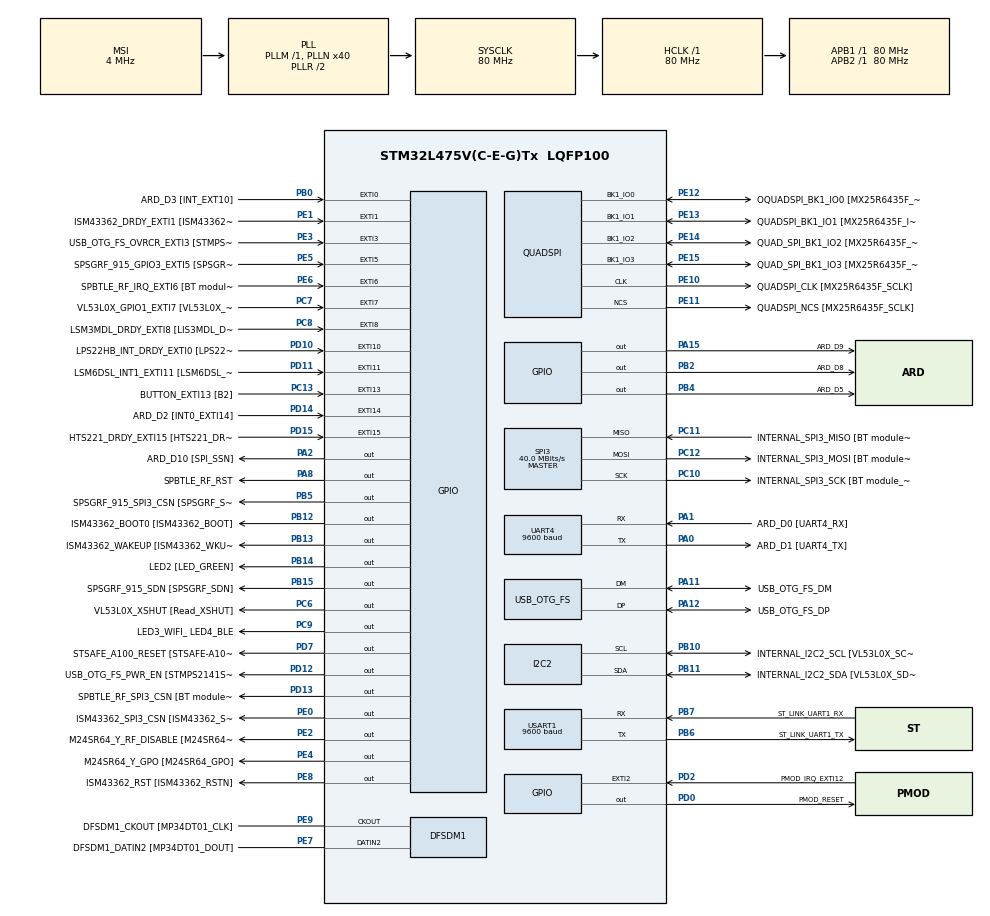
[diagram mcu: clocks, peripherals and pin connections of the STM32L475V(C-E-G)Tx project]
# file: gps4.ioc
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Dma.Request0=UART4_RX
Dma.UART4_RX.0.Direction=DMA_PERIPH_TO_MEMORY
Dma.UART4_RX.0.Instance=DMA2_Channel5
Dma.UART4_RX.0.MemDataAlignment=DMA_MDATAALIGN_BYTE
Dma.UART4_RX.0.MemInc=DMA_MINC_ENABLE
Dma.UART4_RX.0.Mode=DMA_CIRCULAR
Dma.UART4_RX.0.PeriphDataAlignment=DMA_PDATAALIGN_BYTE
Dma.UART4_RX.0.PeriphInc=DMA_PINC_DISABLE
Dma.UART4_RX.0.Priority=DMA_PRIORITY_LOW
Mcu.Family=STM32L4
Mcu.Name=STM32L475V(C-E-G)Tx
Mcu.Package=LQFP100
NVIC.DMA2_Channel5_IRQn=true\:0\:0\:false\:false\:true\:false\:true\:true
NVIC.EXTI15_10_IRQn=true\:0\:0\:false\:false\:true\:true\:true\:true
NVIC.EXTI9_5_IRQn=true\:0\:0\:false\:false\:true\:true\:true\:true
NVIC.PriorityGroup=NVIC_PRIORITYGROUP_4
PA0.GPIO_Label=ARD_D1 [UART4_TX]
PA0.Mode=Asynchronous
PA0.Signal=UART4_TX
PA1.GPIO_Label=ARD_D0 [UART4_RX]
PA1.Mode=Asynchronous
PA1.Signal=UART4_RX
PA10.GPIO_Label=USB_OTG_FS_ID
PA10.Signal=USB_OTG_FS_ID
PA11.GPIO_Label=USB_OTG_FS_DM
PA11.Mode=Device_Only
PA11.Signal=USB_OTG_FS_DM
PA12.GPIO_Label=USB_OTG_FS_DP
PA12.Mode=Device_Only
PA12.Signal=USB_OTG_FS_DP
PA13\ (JTMS-SWDIO).GPIO_Label=SYS_JTMS_SWDIO
PA13\ (JTMS-SWDIO).Mode=Serial_Wire
PA13\ (JTMS-SWDIO).Signal=SYS_JTMS-SWDIO
PA14\ (JTCK-SWCLK).GPIO_Label=SYS_JTCK_SWCLK
PA14\ (JTCK-SWCLK).Mode=Serial_Wire
PA14\ (JTCK-SWCLK).Signal=SYS_JTCK-SWCLK
PA15\ (JTDI).GPIO_Label=ARD_D9
PA15\ (JTDI).Signal=GPIO_Output
PA2.GPIO_Label=ARD_D10 [SPI_SSN]
PA2.Signal=GPIO_Output
PA3.GPIO_Label=ARD_D4
PA3.Signal=S_TIM2_CH4
PA4.GPIO_Label=ARD_D7
PA4.Signal=ADCx_IN9
PA5.GPIO_Label=ARD_D13 [SPI1_SCK]
PA5.Signal=SPI1_SCK
PA6.GPIO_Label=ARD_D12 [SPI1_MISO]
PA6.Signal=SPI1_MISO
PA7.GPIO_Label=ARD_D11 [SPI1_MOSI]
PA7.Signal=SPI1_MOSI
PA8.GPIO_Label=SPBTLE_RF_RST
PA8.Signal=GPIO_Output
PA9.GPIO_Label=USB_OTG_FS_VBUS [STMPS2141STR_OUT]
PA9.Signal=USB_OTG_FS_VBUS
PB0.GPIO_Label=ARD_D3 [INT_EXT10]
PB0.Signal=GPXTI0
PB1.GPIO_Label=ARD_D6 [ADC1_IN6]
PB1.Signal=ADCx_IN16
PB10.GPIO_Label=INTERNAL_I2C2_SCL [VL53L0X_SCL]
PB10.GPIO_Pu=GPIO_PULLUP
PB10.Mode=I2C
PB10.Signal=I2C2_SCL
PB11.GPIO_Label=INTERNAL_I2C2_SDA [VL53L0X_SDA]
PB11.GPIO_Pu=GPIO_PULLUP
PB11.Mode=I2C
PB11.Signal=I2C2_SDA
PB12.GPIO_Label=ISM43362_BOOT0 [ISM43362_BOOT]
PB12.Signal=GPIO_Output
PB13.GPIO_Label=ISM43362_WAKEUP [ISM43362_WKUP]
PB13.Signal=GPIO_Output
PB14.GPIO_Label=LED2 [LED_GREEN]
PB14.Signal=GPIO_Output
PB15.GPIO_Label=SPSGRF_915_SDN [SPSGRF_SDN]
PB15.Signal=GPIO_Output
PB2.GPIO_Label=ARD_D8
PB2.Signal=GPIO_Output
PB3\ (JTDO-TRACESWO).GPIO_Label=SYS_JTD0_SWO
PB3\ (JTDO-TRACESWO).Signal=SYS_JTDO-SWO
PB4\ (NJTRST).GPIO_Label=ARD_D5
PB4\ (NJTRST).Signal=GPIO_Output
PB5.GPIO_Label=SPSGRF_915_SPI3_CSN [SPSGRF_SPI_CS]
PB5.PinState=GPIO_PIN_SET
PB5.Signal=GPIO_Output
PB6.GPIO_Label=ST_LINK_UART1_TX
PB6.Mode=Asynchronous
PB6.Signal=USART1_TX
PB7.GPIO_Label=ST_LINK_UART1_RX
PB7.Mode=Asynchronous
PB7.Signal=USART1_RX
PB8.GPIO_Label=ARD_D15 [I2C1_SCL]
PB8.Signal=I2C1_SCL
PB9.GPIO_Label=ARD_D14 [I2C1_SDA]
PB9.Signal=I2C1_SDA
PC0.GPIO_Label=ARD_A5 [ADC]
PC0.Signal=ADCx_IN1
PC1.GPIO_Label=ARD_A4 [ADC]
PC1.Signal=ADCx_IN2
PC10.GPIO_Label=INTERNAL_SPI3_SCK [BT module_SPI_SCLK] [ISM43362_SCK]
PC10.Mode=Full_Duplex_Master
PC10.Signal=SPI3_SCK
PC11.GPIO_Label=INTERNAL_SPI3_MISO [BT module_SPI_MISO] [ISM43362_MISO]
PC11.Mode=Full_Duplex_Master
PC11.Signal=SPI3_MISO
PC12.GPIO_Label=INTERNAL_SPI3_MOSI [BT module_SPI_MOSI] [ISM43362_MOSI]
PC12.Mode=Full_Duplex_Master
PC12.Signal=SPI3_MOSI
PC13.GPIO_Label=BUTTON_EXTI13 [B2]
PC13.GPIO_ModeDefaultEXTI=GPIO_MODE_IT_FALLING
PC13.Signal=GPXTI13
PC14-OSC32_IN\ (PC14).Mode=LSE-External-Oscillator
PC14-OSC32_IN\ (PC14).Signal=RCC_OSC32_IN
PC15-OSC32_OUT\ (PC15).Mode=LSE-External-Oscillator
PC15-OSC32_OUT\ (PC15).Signal=RCC_OSC32_OUT
PC2.GPIO_Label=ARD_A3 [ADC]
PC2.Signal=ADCx_IN3
PC3.GPIO_Label=ARD_A2 [ADC]
PC3.Signal=ADCx_IN4
PC4.GPIO_Label=ARD_A1 [ADC]
PC4.Signal=ADCx_IN13
PC5.GPIO_Label=ARD_A0 [ADC]
PC5.Signal=ADCx_IN14
PC6.GPIO_Label=VL53L0X_XSHUT [Read_XSHUT]
PC6.Signal=GPIO_Output
PC7.GPIO_Label=VL53L0X_GPIO1_EXTI7 [VL53L0X_GPIO1]
PC7.Signal=GPXTI7
PC8.GPIO_Label=LSM3MDL_DRDY_EXTI8 [LIS3MDL_DRDY]
PC8.Signal=GPXTI8
PC9.GPIO_Label=LED3_WIFI_ LED4_BLE
PC9.Signal=GPIO_Output
PD0.GPIO_Label=PMOD_RESET
PD0.Signal=GPIO_Output
PD1.GPIO_Label=PMOD_SPI2_SCK
PD1.Signal=SPI2_SCK
PD10.GPIO_Label=LPS22HB_INT_DRDY_EXTI0 [LPS22HB_INT_DRDY] 
PD10.Signal=GPXTI10
PD11.GPIO_Label=LSM6DSL_INT1_EXTI11 [LSM6DSL_INT1]
PD11.Signal=GPXTI11
PD12.GPIO_Label=USB_OTG_FS_PWR_EN [STMPS2141STR_EN]
PD12.Signal=GPIO_Output
PD13.GPIO_Label=SPBTLE_RF_SPI3_CSN [BT module_SPI_CS]
PD13.PinState=GPIO_PIN_SET
PD13.Signal=GPIO_Output
PD14.GPIO_Label=ARD_D2 [INT0_EXTI14]
PD14.Signal=GPXTI14
PD15.GPIO_Label=HTS221_DRDY_EXTI15 [HTS221_DRDY]
PD15.Signal=GPXTI15
PD2.GPIO_Label=PMOD_IRQ_EXTI12
PD2.Signal=GPXTI2
PD3.GPIO_Label=PMOD_UART2_CTS
PD3.Signal=USART2_CTS
PD4.GPIO_Label=PMOD_UART2_RTS
PD4.Signal=USART2_RTS
PD5.GPIO_Label=PMOD_UART2_TX
PD5.Signal=USART2_TX
PD6.GPIO_Label=PMOD_UART2_RX
PD6.Signal=USART2_RX
PD7.GPIO_Label=STSAFE_A100_RESET [STSAFE-A100_RESET]
PD7.Signal=GPIO_Output
PD8.GPIO_Label=INTERNAL_UART3_TX [ISM43362_RX]
PD8.Signal=USART3_TX
PD9.GPIO_Label=INTERNAL_UART3_RX [ISM43362_TX]
PD9.Signal=USART3_RX
PE0.GPIO_Label=ISM43362_SPI3_CSN [ISM43362_SSN]
PE0.PinState=GPIO_PIN_SET
PE0.Signal=GPIO_Output
PE1.GPIO_Label=ISM43362_DRDY_EXTI1 [ISM43362_DATARDY]
PE1.Signal=GPXTI1
PE10.GPIO_Label=QUADSPI_CLK [MX25R6435F_SCLK]
PE10.Mode=Single Bank
PE10.Signal=QUADSPI_CLK
PE11.GPIO_Label=QUADSPI_NCS [MX25R6435F_SCLK]
PE11.Mode=Single Bank
PE11.Signal=QUADSPI_NCS
PE12.GPIO_Label=OQUADSPI_BK1_IO0 [MX25R6435F_IO0]
PE12.Mode=Single Bank
PE12.Signal=QUADSPI_BK1_IO0
PE13.GPIO_Label=QUADSPI_BK1_IO1 [MX25R6435F_IO1]
PE13.Mode=Single Bank
PE13.Signal=QUADSPI_BK1_IO1
PE14.GPIO_Label=QUAD_SPI_BK1_IO2 [MX25R6435F_IO2]
PE14.Mode=Single Bank
PE14.Signal=QUADSPI_BK1_IO2
PE15.GPIO_Label=QUAD_SPI_BK1_IO3 [MX25R6435F_IO3]
PE15.Mode=Single Bank
PE15.Signal=QUADSPI_BK1_IO3
PE2.GPIO_Label=M24SR64_Y_RF_DISABLE [M24SR64_RFDIS]
PE2.Signal=GPIO_Output
PE3.GPIO_Label=USB_OTG_FS_OVRCR_EXTI3 [STMPS2141STR_FAULT]
PE3.Signal=GPXTI3
PE4.GPIO_Label=M24SR64_Y_GPO [M24SR64_GPO]
PE4.Signal=GPIO_Output
PE5.GPIO_Label=SPSGRF_915_GPIO3_EXTI5 [SPSGRF_GPIO_3]
PE5.Signal=GPXTI5
PE6.GPIO_Label=SPBTLE_RF_IRQ_EXTI6 [BT module_SPI_IRQ]
PE6.Signal=GPXTI6
PE7.GPIO_Label=DFSDM1_DATIN2 [MP34DT01_DOUT]
PE7.Signal=S_DATAIN2DFSDM1
PE8.GPIO_Label=ISM43362_RST [ISM43362_RSTN]
PE8.Signal=GPIO_Output
PE9.GPIO_Label=DFSDM1_CKOUT [MP34DT01_CLK]
PE9.Signal=S_CKOUTDFSDM1
ProjectManager.HeapSize=0x200
ProjectManager.StackSize=0x400
ProjectManager.TargetToolchain=STM32CubeIDE
QUADSPI.ClockPrescaler=2
QUADSPI.FifoThreshold=4
QUADSPI.FlashSize=23
QUADSPI.SampleShifting=QSPI_SAMPLE_SHIFTING_HALFCYCLE
RCC.ADCFreq_Value=48000000
RCC.AHBFreq_Value=80000000
RCC.APB1Freq_Value=80000000
RCC.APB1TimFreq_Value=80000000
RCC.APB2Freq_Value=80000000
RCC.APB2TimFreq_Value=80000000
RCC.CortexFreq_Value=80000000
RCC.HCLKFreq_Value=80000000
RCC.HSE_VALUE=8000000
RCC.HSI_VALUE=16000000
RCC.MSI_VALUE=4000000
RCC.PLLN=40
RCC.PLLSAI1N=24
RCC.SYSCLKFreq_VALUE=80000000
RCC.SYSCLKSource=RCC_SYSCLKSOURCE_PLLCLK
RCC.USBFreq_Value=48000000
RCC.VCOOutputFreq_Value=160000000
SH.ADCx_IN1.0=ADC1_IN1
SH.ADCx_IN13.0=ADC1_IN13
SH.ADCx_IN14.0=ADC1_IN14
SH.ADCx_IN16.0=ADC1_IN16
SH.ADCx_IN2.0=ADC1_IN2
SH.ADCx_IN3.0=ADC1_IN3
SH.ADCx_IN4.0=ADC1_IN4
SH.ADCx_IN9.0=ADC1_IN9
SH.S_CKOUTDFSDM1.0=DFSDM1_CKOUT,CKOUT
SH.S_CKOUTDFSDM1.1=DFSDM1_CKOUT,PDM_SPI_Input_from_ch12_and_Internal_Clock
SH.S_DATAIN2DFSDM1.0=DFSDM1_DATIN2,PDM_SPI_Input_from_ch12_and_Internal_Clock
SH.S_TIM2_CH4.0=TIM2_CH4
SPI3.CalculateBaudRate=40.0 MBits/s
SPI3.Direction=SPI_DIRECTION_2LINES
SPI3.Mode=SPI_MODE_MASTER
SPI3.VirtualType=VM_MASTER
UART4.BaudRate=9600
USART1.BaudRate=9600
USART1.VirtualMode-Asynchronous=VM_ASYNC
USB_OTG_FS.VirtualMode=Device_Only
board=B-L475E-IOT01A1

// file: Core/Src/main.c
/* USER CODE BEGIN Header */
/**
  ******************************************************************************
  * @file           : main.c
  * @brief          : Main program body
  ******************************************************************************
  * @attention
  *
  * Copyright (c) 2023 STMicroelectronics.
  * All rights reserved.
  *
  * This software is licensed under terms that can be found in the LICENSE file
  * in the root directory of this software component.
  * If no LICENSE file comes with this software, it is provided AS-IS.
  *
  ******************************************************************************
  */
/* USER CODE END Header */
#include "main.h"

/* USER CODE BEGIN Includes */
#include <stdio.h>
#include <string.h>
#include <stdlib.h>
/* USER CODE END Includes */

DFSDM_Channel_HandleTypeDef hdfsdm1_channel1;

I2C_HandleTypeDef hi2c2;

QSPI_HandleTypeDef hqspi;

SPI_HandleTypeDef hspi3;

UART_HandleTypeDef huart4;
UART_HandleTypeDef huart1;
DMA_HandleTypeDef hdma_uart4_rx;

PCD_HandleTypeDef hpcd_USB_OTG_FS;

/* USER CODE BEGIN PV */
uint8_t Rxdata[750];
char Txdata[750];
char GPS_Payyload[100];
char check;
uint8_t Flag=0;
static int Msgindex;
char *ptr;

float time,Latitude,Longitude;
int Hours,Min,Sec;
/* USER CODE END PV */

void SystemClock_Config(void);
static void MX_GPIO_Init(void);
static void MX_DMA_Init(void);
static void MX_DFSDM1_Init(void);
static void MX_I2C2_Init(void);
static void MX_QUADSPI_Init(void);
static void MX_SPI3_Init(void);
static void MX_USART1_UART_Init(void);
static void MX_USB_OTG_FS_PCD_Init(void);
static void MX_UART4_Init(void);
/* USER CODE BEGIN PFP */

void get_location(void);
void Format_data(float Time,float Lat,float Long);

/* USER CODE END PFP */

int main(void)
{

  /* MCU Configuration--------------------------------------------------------*/

  /* Reset of all peripherals, Initializes the Flash interface and the Systick. */
  HAL_Init();

  /* Configure the system clock */
  SystemClock_Config();

  /* Initialize all configured peripherals */
  MX_GPIO_Init();
  MX_DMA_Init();
  MX_DFSDM1_Init();
  MX_I2C2_Init();
  MX_QUADSPI_Init();
  MX_SPI3_Init();
  MX_USART1_UART_Init();
  MX_USB_OTG_FS_PCD_Init();
  MX_UART4_Init();
  /* USER CODE BEGIN 2 */

  HAL_UART_Receive_DMA(&huart4, (uint8_t*)Rxdata, 700);

  /* USER CODE END 2 */

  /* Infinite loop */
  while (1)
  {

    /* USER CODE BEGIN 3 */
	  get_location();
  }
  /* USER CODE END 3 */
}

void SystemClock_Config(void)
{
  RCC_OscInitTypeDef RCC_OscInitStruct = {0};
  RCC_ClkInitTypeDef RCC_ClkInitStruct = {0};

  /** Configure the main internal regulator output voltage
  */
  if (HAL_PWREx_ControlVoltageScaling(PWR_REGULATOR_VOLTAGE_SCALE1) != HAL_OK)
  {
    Error_Handler();
  }

  /** Configure LSE Drive Capability
  */
  HAL_PWR_EnableBkUpAccess();
  __HAL_RCC_LSEDRIVE_CONFIG(RCC_LSEDRIVE_LOW);

  /** Initializes the RCC Oscillators according to the specified parameters
  * in the RCC_OscInitTypeDef structure.
  */
  RCC_OscInitStruct.OscillatorType = RCC_OSCILLATORTYPE_LSE|RCC_OSCILLATORTYPE_MSI;
  RCC_OscInitStruct.LSEState = RCC_LSE_ON;
  RCC_OscInitStruct.MSIState = RCC_MSI_ON;
  RCC_OscInitStruct.MSICalibrationValue = 0;
  RCC_OscInitStruct.MSIClockRange = RCC_MSIRANGE_6;
  RCC_OscInitStruct.PLL.PLLState = RCC_PLL_ON;
  RCC_OscInitStruct.PLL.PLLSource = RCC_PLLSOURCE_MSI;
  RCC_OscInitStruct.PLL.PLLM = 1;
  RCC_OscInitStruct.PLL.PLLN = 40;
  RCC_OscInitStruct.PLL.PLLP = RCC_PLLP_DIV7;
  RCC_OscInitStruct.PLL.PLLQ = RCC_PLLQ_DIV2;
  RCC_OscInitStruct.PLL.PLLR = RCC_PLLR_DIV2;
  if (HAL_RCC_OscConfig(&RCC_OscInitStruct) != HAL_OK)
  {
    Error_Handler();
  }

  /** Initializes the CPU, AHB and APB buses clocks
  */
  RCC_ClkInitStruct.ClockType = RCC_CLOCKTYPE_HCLK|RCC_CLOCKTYPE_SYSCLK
                              |RCC_CLOCKTYPE_PCLK1|RCC_CLOCKTYPE_PCLK2;
  RCC_ClkInitStruct.SYSCLKSource = RCC_SYSCLKSOURCE_PLLCLK;
  RCC_ClkInitStruct.AHBCLKDivider = RCC_SYSCLK_DIV1;
  RCC_ClkInitStruct.APB1CLKDivider = RCC_HCLK_DIV1;
  RCC_ClkInitStruct.APB2CLKDivider = RCC_HCLK_DIV1;

  if (HAL_RCC_ClockConfig(&RCC_ClkInitStruct, FLASH_LATENCY_4) != HAL_OK)
  {
    Error_Handler();
  }

  /** Enable MSI Auto calibration
  */
  HAL_RCCEx_EnableMSIPLLMode();
}

static void MX_DFSDM1_Init(void)
{

  hdfsdm1_channel1.Instance = DFSDM1_Channel1;
  hdfsdm1_channel1.Init.OutputClock.Activation = ENABLE;
  hdfsdm1_channel1.Init.OutputClock.Selection = DFSDM_CHANNEL_OUTPUT_CLOCK_SYSTEM;
  hdfsdm1_channel1.Init.OutputClock.Divider = 2;
  hdfsdm1_channel1.Init.Input.Multiplexer = DFSDM_CHANNEL_EXTERNAL_INPUTS;
  hdfsdm1_channel1.Init.Input.DataPacking = DFSDM_CHANNEL_STANDARD_MODE;
  hdfsdm1_channel1.Init.Input.Pins = DFSDM_CHANNEL_FOLLOWING_CHANNEL_PINS;
  hdfsdm1_channel1.Init.SerialInterface.Type = DFSDM_CHANNEL_SPI_RISING;
  hdfsdm1_channel1.Init.SerialInterface.SpiClock = DFSDM_CHANNEL_SPI_CLOCK_INTERNAL;
  hdfsdm1_channel1.Init.Awd.FilterOrder = DFSDM_CHANNEL_FASTSINC_ORDER;
  hdfsdm1_channel1.Init.Awd.Oversampling = 1;
  hdfsdm1_channel1.Init.Offset = 0;
  hdfsdm1_channel1.Init.RightBitShift = 0x00;
  if (HAL_DFSDM_ChannelInit(&hdfsdm1_channel1) != HAL_OK)
  {
    Error_Handler();
  }

}

static void MX_I2C2_Init(void)
{

  hi2c2.Instance = I2C2;
  hi2c2.Init.Timing = 0x00000E14;
  hi2c2.Init.OwnAddress1 = 0;
  hi2c2.Init.AddressingMode = I2C_ADDRESSINGMODE_7BIT;
  hi2c2.Init.DualAddressMode = I2C_DUALADDRESS_DISABLE;
  hi2c2.Init.OwnAddress2 = 0;
  hi2c2.Init.OwnAddress2Masks = I2C_OA2_NOMASK;
  hi2c2.Init.GeneralCallMode = I2C_GENERALCALL_DISABLE;
  hi2c2.Init.NoStretchMode = I2C_NOSTRETCH_DISABLE;
  if (HAL_I2C_Init(&hi2c2) != HAL_OK)
  {
    Error_Handler();
  }

  /** Configure Analogue filter
  */
  if (HAL_I2CEx_ConfigAnalogFilter(&hi2c2, I2C_ANALOGFILTER_ENABLE) != HAL_OK)
  {
    Error_Handler();
  }

  /** Configure Digital filter
  */
  if (HAL_I2CEx_ConfigDigitalFilter(&hi2c2, 0) != HAL_OK)
  {
    Error_Handler();
  }

}

static void MX_QUADSPI_Init(void)
{

  /* QUADSPI parameter configuration*/
  hqspi.Instance = QUADSPI;
  hqspi.Init.ClockPrescaler = 2;
  hqspi.Init.FifoThreshold = 4;
  hqspi.Init.SampleShifting = QSPI_SAMPLE_SHIFTING_HALFCYCLE;
  hqspi.Init.FlashSize = 23;
  hqspi.Init.ChipSelectHighTime = QSPI_CS_HIGH_TIME_1_CYCLE;
  hqspi.Init.ClockMode = QSPI_CLOCK_MODE_0;
  if (HAL_QSPI_Init(&hqspi) != HAL_OK)
  {
    Error_Handler();
  }

}

static void MX_SPI3_Init(void)
{

  /* SPI3 parameter configuration*/
  hspi3.Instance = SPI3;
  hspi3.Init.Mode = SPI_MODE_MASTER;
  hspi3.Init.Direction = SPI_DIRECTION_2LINES;
  hspi3.Init.DataSize = SPI_DATASIZE_4BIT;
  hspi3.Init.CLKPolarity = SPI_POLARITY_LOW;
  hspi3.Init.CLKPhase = SPI_PHASE_1EDGE;
  hspi3.Init.NSS = SPI_NSS_SOFT;
  hspi3.Init.BaudRatePrescaler = SPI_BAUDRATEPRESCALER_2;
  hspi3.Init.FirstBit = SPI_FIRSTBIT_MSB;
  hspi3.Init.TIMode = SPI_TIMODE_DISABLE;
  hspi3.Init.CRCCalculation = SPI_CRCCALCULATION_DISABLE;
  hspi3.Init.CRCPolynomial = 7;
  hspi3.Init.CRCLength = SPI_CRC_LENGTH_DATASIZE;
  hspi3.Init.NSSPMode = SPI_NSS_PULSE_ENABLE;
  if (HAL_SPI_Init(&hspi3) != HAL_OK)
  {
    Error_Handler();
  }

}

static void MX_UART4_Init(void)
{

  huart4.Instance = UART4;
  huart4.Init.BaudRate = 9600;
  huart4.Init.WordLength = UART_WORDLENGTH_8B;
  huart4.Init.StopBits = UART_STOPBITS_1;
  huart4.Init.Parity = UART_PARITY_NONE;
  huart4.Init.Mode = UART_MODE_TX_RX;
  huart4.Init.HwFlowCtl = UART_HWCONTROL_NONE;
  huart4.Init.OverSampling = UART_OVERSAMPLING_16;
  huart4.Init.OneBitSampling = UART_ONE_BIT_SAMPLE_DISABLE;
  huart4.AdvancedInit.AdvFeatureInit = UART_ADVFEATURE_NO_INIT;
  if (HAL_UART_Init(&huart4) != HAL_OK)
  {
    Error_Handler();
  }

}

static void MX_USART1_UART_Init(void)
{

  huart1.Instance = USART1;
  huart1.Init.BaudRate = 9600;
  huart1.Init.WordLength = UART_WORDLENGTH_8B;
  huart1.Init.StopBits = UART_STOPBITS_1;
  huart1.Init.Parity = UART_PARITY_NONE;
  huart1.Init.Mode = UART_MODE_TX_RX;
  huart1.Init.HwFlowCtl = UART_HWCONTROL_NONE;
  huart1.Init.OverSampling = UART_OVERSAMPLING_16;
  huart1.Init.OneBitSampling = UART_ONE_BIT_SAMPLE_DISABLE;
  huart1.AdvancedInit.AdvFeatureInit = UART_ADVFEATURE_NO_INIT;
  if (HAL_UART_Init(&huart1) != HAL_OK)
  {
    Error_Handler();
  }

}

static void MX_USB_OTG_FS_PCD_Init(void)
{

  hpcd_USB_OTG_FS.Instance = USB_OTG_FS;
  hpcd_USB_OTG_FS.Init.dev_endpoints = 6;
  hpcd_USB_OTG_FS.Init.speed = PCD_SPEED_FULL;
  hpcd_USB_OTG_FS.Init.phy_itface = PCD_PHY_EMBEDDED;
  hpcd_USB_OTG_FS.Init.Sof_enable = DISABLE;
  hpcd_USB_OTG_FS.Init.low_power_enable = DISABLE;
  hpcd_USB_OTG_FS.Init.lpm_enable = DISABLE;
  hpcd_USB_OTG_FS.Init.battery_charging_enable = DISABLE;
  hpcd_USB_OTG_FS.Init.use_dedicated_ep1 = DISABLE;
  hpcd_USB_OTG_FS.Init.vbus_sensing_enable = DISABLE;
  if (HAL_PCD_Init(&hpcd_USB_OTG_FS) != HAL_OK)
  {
    Error_Handler();
  }

}

static void MX_DMA_Init(void)
{

  /* DMA controller clock enable */
  __HAL_RCC_DMA2_CLK_ENABLE();

  /* DMA interrupt init */
  /* DMA2_Channel5_IRQn interrupt configuration */
  HAL_NVIC_SetPriority(DMA2_Channel5_IRQn, 0, 0);
  HAL_NVIC_EnableIRQ(DMA2_Channel5_IRQn);

}

static void MX_GPIO_Init(void)
{
  GPIO_InitTypeDef GPIO_InitStruct = {0};

  /* GPIO Ports Clock Enable */
  __HAL_RCC_GPIOE_CLK_ENABLE();
  __HAL_RCC_GPIOC_CLK_ENABLE();
  __HAL_RCC_GPIOA_CLK_ENABLE();
  __HAL_RCC_GPIOB_CLK_ENABLE();
  __HAL_RCC_GPIOD_CLK_ENABLE();

  /*Configure GPIO pin Output Level */
  HAL_GPIO_WritePin(GPIOE, M24SR64_Y_RF_DISABLE_Pin|M24SR64_Y_GPO_Pin|ISM43362_RST_Pin, GPIO_PIN_RESET);

  /*Configure GPIO pin Output Level */
  HAL_GPIO_WritePin(GPIOA, ARD_D10_Pin|SPBTLE_RF_RST_Pin|ARD_D9_Pin, GPIO_PIN_RESET);

  /*Configure GPIO pin Output Level */
  HAL_GPIO_WritePin(GPIOB, ARD_D8_Pin|ISM43362_BOOT0_Pin|ISM43362_WAKEUP_Pin|LED2_Pin
                          |SPSGRF_915_SDN_Pin|ARD_D5_Pin, GPIO_PIN_RESET);

  /*Configure GPIO pin Output Level */
  HAL_GPIO_WritePin(GPIOD, USB_OTG_FS_PWR_EN_Pin|PMOD_RESET_Pin|STSAFE_A100_RESET_Pin, GPIO_PIN_RESET);

  /*Configure GPIO pin Output Level */
  HAL_GPIO_WritePin(SPBTLE_RF_SPI3_CSN_GPIO_Port, SPBTLE_RF_SPI3_CSN_Pin, GPIO_PIN_SET);

  /*Configure GPIO pin Output Level */
  HAL_GPIO_WritePin(GPIOC, VL53L0X_XSHUT_Pin|LED3_WIFI__LED4_BLE_Pin, GPIO_PIN_RESET);

  /*Configure GPIO pin Output Level */
  HAL_GPIO_WritePin(SPSGRF_915_SPI3_CSN_GPIO_Port, SPSGRF_915_SPI3_CSN_Pin, GPIO_PIN_SET);

  /*Configure GPIO pin Output Level */
  HAL_GPIO_WritePin(ISM43362_SPI3_CSN_GPIO_Port, ISM43362_SPI3_CSN_Pin, GPIO_PIN_SET);

  /*Configure GPIO pins : M24SR64_Y_RF_DISABLE_Pin M24SR64_Y_GPO_Pin ISM43362_RST_Pin ISM43362_SPI3_CSN_Pin */
  GPIO_InitStruct.Pin = M24SR64_Y_RF_DISABLE_Pin|M24SR64_Y_GPO_Pin|ISM43362_RST_Pin|ISM43362_SPI3_CSN_Pin;
  GPIO_InitStruct.Mode = GPIO_MODE_OUTPUT_PP;
  GPIO_InitStruct.Pull = GPIO_NOPULL;
  GPIO_InitStruct.Speed = GPIO_SPEED_FREQ_LOW;
  HAL_GPIO_Init(GPIOE, &GPIO_InitStruct);

  /*Configure GPIO pins : USB_OTG_FS_OVRCR_EXTI3_Pin SPSGRF_915_GPIO3_EXTI5_Pin SPBTLE_RF_IRQ_EXTI6_Pin ISM43362_DRDY_EXTI1_Pin */
  GPIO_InitStruct.Pin = USB_OTG_FS_OVRCR_EXTI3_Pin|SPSGRF_915_GPIO3_EXTI5_Pin|SPBTLE_RF_IRQ_EXTI6_Pin|ISM43362_DRDY_EXTI1_Pin;
  GPIO_InitStruct.Mode = GPIO_MODE_IT_RISING;
  GPIO_InitStruct.Pull = GPIO_NOPULL;
  HAL_GPIO_Init(GPIOE, &GPIO_InitStruct);

  /*Configure GPIO pin : BUTTON_EXTI13_Pin */
  GPIO_InitStruct.Pin = BUTTON_EXTI13_Pin;
  GPIO_InitStruct.Mode = GPIO_MODE_IT_FALLING;
  GPIO_InitStruct.Pull = GPIO_NOPULL;
  HAL_GPIO_Init(BUTTON_EXTI13_GPIO_Port, &GPIO_InitStruct);

  /*Configure GPIO pins : ARD_A5_Pin ARD_A4_Pin ARD_A3_Pin ARD_A2_Pin
                           ARD_A1_Pin ARD_A0_Pin */
  GPIO_InitStruct.Pin = ARD_A5_Pin|ARD_A4_Pin|ARD_A3_Pin|ARD_A2_Pin
                          |ARD_A1_Pin|ARD_A0_Pin;
  GPIO_InitStruct.Mode = GPIO_MODE_ANALOG_ADC_CONTROL;
  GPIO_InitStruct.Pull = GPIO_NOPULL;
  HAL_GPIO_Init(GPIOC, &GPIO_InitStruct);

  /*Configure GPIO pins : ARD_D10_Pin SPBTLE_RF_RST_Pin ARD_D9_Pin */
  GPIO_InitStruct.Pin = ARD_D10_Pin|SPBTLE_RF_RST_Pin|ARD_D9_Pin;
  GPIO_InitStruct.Mode = GPIO_MODE_OUTPUT_PP;
  GPIO_InitStruct.Pull = GPIO_NOPULL;
  GPIO_InitStruct.Speed = GPIO_SPEED_FREQ_LOW;
  HAL_GPIO_Init(GPIOA, &GPIO_InitStruct);

  /*Configure GPIO pin : ARD_D4_Pin */
  GPIO_InitStruct.Pin = ARD_D4_Pin;
  GPIO_InitStruct.Mode = GPIO_MODE_AF_PP;
  GPIO_InitStruct.Pull = GPIO_NOPULL;
  GPIO_InitStruct.Speed = GPIO_SPEED_FREQ_LOW;
  GPIO_InitStruct.Alternate = GPIO_AF1_TIM2;
  HAL_GPIO_Init(ARD_D4_GPIO_Port, &GPIO_InitStruct);

  /*Configure GPIO pin : ARD_D7_Pin */
  GPIO_InitStruct.Pin = ARD_D7_Pin;
  GPIO_InitStruct.Mode = GPIO_MODE_ANALOG_ADC_CONTROL;
  GPIO_InitStruct.Pull = GPIO_NOPULL;
  HAL_GPIO_Init(ARD_D7_GPIO_Port, &GPIO_InitStruct);

  /*Configure GPIO pins : ARD_D13_Pin ARD_D12_Pin ARD_D11_Pin */
  GPIO_InitStruct.Pin = ARD_D13_Pin|ARD_D12_Pin|ARD_D11_Pin;
  GPIO_InitStruct.Mode = GPIO_MODE_AF_PP;
  GPIO_InitStruct.Pull = GPIO_NOPULL;
  GPIO_InitStruct.Speed = GPIO_SPEED_FREQ_VERY_HIGH;
  GPIO_InitStruct.Alternate = GPIO_AF5_SPI1;
  HAL_GPIO_Init(GPIOA, &GPIO_InitStruct);

  /*Configure GPIO pin : ARD_D3_Pin */
  GPIO_InitStruct.Pin = ARD_D3_Pin;
  GPIO_InitStruct.Mode = GPIO_MODE_IT_RISING;
  GPIO_InitStruct.Pull = GPIO_NOPULL;
  HAL_GPIO_Init(ARD_D3_GPIO_Port, &GPIO_InitStruct);

  /*Configure GPIO pin : ARD_D6_Pin */
  GPIO_InitStruct.Pin = ARD_D6_Pin;
  GPIO_InitStruct.Mode = GPIO_MODE_ANALOG_ADC_CONTROL;
  GPIO_InitStruct.Pull = GPIO_NOPULL;
  HAL_GPIO_Init(ARD_D6_GPIO_Port, &GPIO_InitStruct);

  /*Configure GPIO pins : ARD_D8_Pin ISM43362_BOOT0_Pin ISM43362_WAKEUP_Pin LED2_Pin
                           SPSGRF_915_SDN_Pin ARD_D5_Pin SPSGRF_915_SPI3_CSN_Pin */
  GPIO_InitStruct.Pin = ARD_D8_Pin|ISM43362_BOOT0_Pin|ISM43362_WAKEUP_Pin|LED2_Pin
                          |SPSGRF_915_SDN_Pin|ARD_D5_Pin|SPSGRF_915_SPI3_CSN_Pin;
  GPIO_InitStruct.Mode = GPIO_MODE_OUTPUT_PP;
  GPIO_InitStruct.Pull = GPIO_NOPULL;
  GPIO_InitStruct.Speed = GPIO_SPEED_FREQ_LOW;
  HAL_GPIO_Init(GPIOB, &GPIO_InitStruct);

  /*Configure GPIO pins : INTERNAL_UART3_TX_Pin INTERNAL_UART3_RX_Pin */
  GPIO_InitStruct.Pin = INTERNAL_UART3_TX_Pin|INTERNAL_UART3_RX_Pin;
  GPIO_InitStruct.Mode = GPIO_MODE_AF_PP;
  GPIO_InitStruct.Pull = GPIO_NOPULL;
  GPIO_InitStruct.Speed = GPIO_SPEED_FREQ_VERY_HIGH;
  GPIO_InitStruct.Alternate = GPIO_AF7_USART3;
  HAL_GPIO_Init(GPIOD, &GPIO_InitStruct);

  /*Configure GPIO pins : LPS22HB_INT_DRDY_EXTI0_Pin LSM6DSL_INT1_EXTI11_Pin ARD_D2_Pin HTS221_DRDY_EXTI15_Pin
                           PMOD_IRQ_EXTI12_Pin */
  GPIO_InitStruct.Pin = LPS22HB_INT_DRDY_EXTI0_Pin|LSM6DSL_INT1_EXTI11_Pin|ARD_D2_Pin|HTS221_DRDY_EXTI15_Pin
                          |PMOD_IRQ_EXTI12_Pin;
  GPIO_InitStruct.Mode = GPIO_MODE_IT_RISING;
  GPIO_InitStruct.Pull = GPIO_NOPULL;
  HAL_GPIO_Init(GPIOD, &GPIO_InitStruct);

  /*Configure GPIO pins : USB_OTG_FS_PWR_EN_Pin SPBTLE_RF_SPI3_CSN_Pin PMOD_RESET_Pin STSAFE_A100_RESET_Pin */
  GPIO_InitStruct.Pin = USB_OTG_FS_PWR_EN_Pin|SPBTLE_RF_SPI3_CSN_Pin|PMOD_RESET_Pin|STSAFE_A100_RESET_Pin;
  GPIO_InitStruct.Mode = GPIO_MODE_OUTPUT_PP;
  GPIO_InitStruct.Pull = GPIO_NOPULL;
  GPIO_InitStruct.Speed = GPIO_SPEED_FREQ_LOW;
  HAL_GPIO_Init(GPIOD, &GPIO_InitStruct);

  /*Configure GPIO pins : VL53L0X_XSHUT_Pin LED3_WIFI__LED4_BLE_Pin */
  GPIO_InitStruct.Pin = VL53L0X_XSHUT_Pin|LED3_WIFI__LED4_BLE_Pin;
  GPIO_InitStruct.Mode = GPIO_MODE_OUTPUT_PP;
  GPIO_InitStruct.Pull = GPIO_NOPULL;
  GPIO_InitStruct.Speed = GPIO_SPEED_FREQ_LOW;
  HAL_GPIO_Init(GPIOC, &GPIO_InitStruct);

  /*Configure GPIO pins : VL53L0X_GPIO1_EXTI7_Pin LSM3MDL_DRDY_EXTI8_Pin */
  GPIO_InitStruct.Pin = VL53L0X_GPIO1_EXTI7_Pin|LSM3MDL_DRDY_EXTI8_Pin;
  GPIO_InitStruct.Mode = GPIO_MODE_IT_RISING;
  GPIO_InitStruct.Pull = GPIO_NOPULL;
  HAL_GPIO_Init(GPIOC, &GPIO_InitStruct);

  /*Configure GPIO pin : PMOD_SPI2_SCK_Pin */
  GPIO_InitStruct.Pin = PMOD_SPI2_SCK_Pin;
  GPIO_InitStruct.Mode = GPIO_MODE_AF_PP;
  GPIO_InitStruct.Pull = GPIO_NOPULL;
  GPIO_InitStruct.Speed = GPIO_SPEED_FREQ_VERY_HIGH;
  GPIO_InitStruct.Alternate = GPIO_AF5_SPI2;
  HAL_GPIO_Init(PMOD_SPI2_SCK_GPIO_Port, &GPIO_InitStruct);

  /*Configure GPIO pins : PMOD_UART2_CTS_Pin PMOD_UART2_RTS_Pin PMOD_UART2_TX_Pin PMOD_UART2_RX_Pin */
  GPIO_InitStruct.Pin = PMOD_UART2_CTS_Pin|PMOD_UART2_RTS_Pin|PMOD_UART2_TX_Pin|PMOD_UART2_RX_Pin;
  GPIO_InitStruct.Mode = GPIO_MODE_AF_PP;
  GPIO_InitStruct.Pull = GPIO_NOPULL;
  GPIO_InitStruct.Speed = GPIO_SPEED_FREQ_VERY_HIGH;
  GPIO_InitStruct.Alternate = GPIO_AF7_USART2;
  HAL_GPIO_Init(GPIOD, &GPIO_InitStruct);

  /*Configure GPIO pins : ARD_D15_Pin ARD_D14_Pin */
  GPIO_InitStruct.Pin = ARD_D15_Pin|ARD_D14_Pin;
  GPIO_InitStruct.Mode = GPIO_MODE_AF_OD;
  GPIO_InitStruct.Pull = GPIO_NOPULL;
  GPIO_InitStruct.Speed = GPIO_SPEED_FREQ_VERY_HIGH;
  GPIO_InitStruct.Alternate = GPIO_AF4_I2C1;
  HAL_GPIO_Init(GPIOB, &GPIO_InitStruct);

  /* EXTI interrupt init*/
  HAL_NVIC_SetPriority(EXTI9_5_IRQn, 0, 0);
  HAL_NVIC_EnableIRQ(EXTI9_5_IRQn);

  HAL_NVIC_SetPriority(EXTI15_10_IRQn, 0, 0);
  HAL_NVIC_EnableIRQ(EXTI15_10_IRQn);

}

/* USER CODE BEGIN 4 */
void HAL_UART_RxCpltCallback(UART_HandleTypeDef *huart)
{
	Flag=1;
}

void get_location(void)
{
	//HAL_UART_Transmit(&huart1, (uint8_t*)Txdata, strlen(Txdata), HAL_MAX_DELAY);
	if(Flag==1)
	{
		Msgindex=0;
		strcpy(Txdata,(char*)(Rxdata));
		ptr=strstr(Txdata,"GNRMC");
		if(*ptr=='G')
		{
			while(1)
			{
				GPS_Payyload[Msgindex]=*ptr;
				Msgindex++;
				*ptr=*(ptr+Msgindex);
				if(*ptr=='\n')
				{
					GPS_Payyload[Msgindex]='\0';
					break;
				}
			}
			sscanf(GPS_Payyload,"GNRMC,%f,%c,%f,N,%f,",&time,&check,&Latitude,&Longitude);
			if(check == 'A')
			{
			Format_data(time,Latitude,Longitude);
			}
			else
			{
				HAL_UART_Transmit(&huart1, (uint8_t*)"invalid signals", 15, 100);
				HAL_UART_Transmit(&huart1, (uint8_t*)"\r\n", 2, HAL_MAX_DELAY);
			}
			HAL_Delay(1);
			Flag=0;
		}
	}
}

void Format_data(float Time,float Lat,float Long)
{
	char Data[100];
	Hours=(int)Time/10000;
	Min=(int)(Time-(Hours*10000))/100;
	Sec=(int)(Time-((Hours*10000)+(Min*100)));
	sprintf(Data,"\r\nTime=%d:%d:%d Latitude=%f N,Longitude=%f E",Hours,Min,Sec,Latitude/100,Longitude/100);
	HAL_UART_Transmit(&huart1, (uint8_t*)Data, strlen(Data), HAL_MAX_DELAY);
	HAL_UART_Transmit(&huart1, (uint8_t*)"\r\n\n", 3, HAL_MAX_DELAY);
}
/* USER CODE END 4 */

void Error_Handler(void)
{
  __disable_irq();
  while (1)
  {
  }
}
